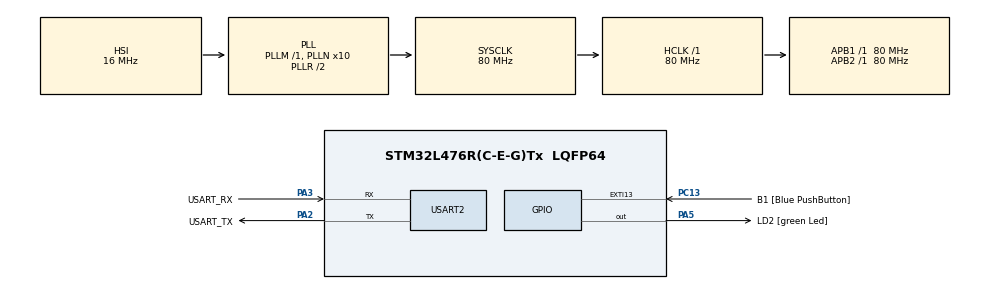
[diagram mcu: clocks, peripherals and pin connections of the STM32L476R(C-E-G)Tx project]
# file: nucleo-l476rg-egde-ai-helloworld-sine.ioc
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Mcu.Family=STM32L4
Mcu.Name=STM32L476R(C-E-G)Tx
Mcu.Package=LQFP64
NVIC.PriorityGroup=NVIC_PRIORITYGROUP_4
NVIC.USART2_IRQn=true\:0\:0\:false\:false\:true\:true\:true\:true
PA13\ (JTMS-SWDIO).GPIO_Label=TMS
PA13\ (JTMS-SWDIO).Mode=Serial_Wire
PA13\ (JTMS-SWDIO).Signal=SYS_JTMS-SWDIO
PA14\ (JTCK-SWCLK).GPIO_Label=TCK
PA14\ (JTCK-SWCLK).Mode=Serial_Wire
PA14\ (JTCK-SWCLK).Signal=SYS_JTCK-SWCLK
PA2.GPIO_Label=USART_TX
PA2.GPIO_Mode=GPIO_MODE_AF_PP
PA2.GPIO_PuPd=GPIO_NOPULL
PA2.GPIO_Speed=GPIO_SPEED_FREQ_VERY_HIGH
PA2.Mode=Asynchronous
PA2.Signal=USART2_TX
PA3.GPIO_Label=USART_RX
PA3.GPIO_Mode=GPIO_MODE_AF_PP
PA3.GPIO_PuPd=GPIO_NOPULL
PA3.GPIO_Speed=GPIO_SPEED_FREQ_VERY_HIGH
PA3.Mode=Asynchronous
PA3.Signal=USART2_RX
PA5.GPIO_Label=LD2 [green Led]
PA5.GPIO_ModeDefaultOutputPP=GPIO_MODE_OUTPUT_PP
PA5.GPIO_PuPd=GPIO_NOPULL
PA5.GPIO_Speed=GPIO_SPEED_FREQ_LOW
PA5.Signal=GPIO_Output
PB3\ (JTDO-TRACESWO).GPIO_Label=SWO
PB3\ (JTDO-TRACESWO).Signal=SYS_JTDO-SWO
PC13.GPIO_Label=B1 [Blue PushButton]
PC13.GPIO_ModeDefaultEXTI=GPIO_MODE_IT_FALLING
PC13.GPIO_PuPd=GPIO_NOPULL
PC13.Signal=GPXTI13
PC14-OSC32_IN\ (PC14).Mode=LSE-External-Oscillator
PC14-OSC32_IN\ (PC14).Signal=RCC_OSC32_IN
PC15-OSC32_OUT\ (PC15).Mode=LSE-External-Oscillator
PC15-OSC32_OUT\ (PC15).Signal=RCC_OSC32_OUT
PH0-OSC_IN\ (PH0).Signal=RCC_OSC_IN
PH1-OSC_OUT\ (PH1).Signal=RCC_OSC_OUT
ProjectManager.HeapSize=0x800
ProjectManager.StackSize=0x800
ProjectManager.TargetToolchain=STM32CubeIDE
RCC.ADCFreq_Value=64000000
RCC.AHBFreq_Value=80000000
RCC.APB1Freq_Value=80000000
RCC.APB1TimFreq_Value=80000000
RCC.APB2Freq_Value=80000000
RCC.APB2TimFreq_Value=80000000
RCC.CortexFreq_Value=80000000
RCC.HCLKFreq_Value=80000000
RCC.HSE_VALUE=8000000
RCC.HSI_VALUE=16000000
RCC.MSI_VALUE=4000000
RCC.PLLN=10
RCC.PLLSourceVirtual=RCC_PLLSOURCE_HSI
RCC.PREFETCH_ENABLE=1
RCC.SYSCLKFreq_VALUE=80000000
RCC.SYSCLKSource=RCC_SYSCLKSOURCE_PLLCLK
RCC.USBFreq_Value=64000000
RCC.VCOOutputFreq_Value=160000000
STMicroelectronics.X-CUBE-AI.10.0.0.ActivationBufferSizeList=2104
STMicroelectronics.X-CUBE-AI.10.0.0.ActivationBuffers=pool0
STMicroelectronics.X-CUBE-AI.10.0.0.ActivationNames=pool0
STMicroelectronics.X-CUBE-AI.10.0.0.ActivationSizes=AI_SINE_MODEL_DATA_ACTIVATION_1_SIZE
STMicroelectronics.X-CUBE-AI.10.0.0.HeapSize=0x800
STMicroelectronics.X-CUBE-AI.10.0.0.InternalRamActivationBufferMaxSize=AI_SINE_MODEL_DATA_ACTIVATIONS_SIZE
STMicroelectronics.X-CUBE-AI.10.0.0.LatestDirectoryUsed-93b78c7e7272fda5c59fb9a12a677476e29289996cf286b4597ba8166318dedd=C\:\\Users\\david\\Documents\\Edging\\Repo\\EdgeAI4BionicControl\\HelloWorld_Models
STMicroelectronics.X-CUBE-AI.10.0.0.MaximumNumberOfInputLayer=1
STMicroelectronics.X-CUBE-AI.10.0.0.MaximumNumberOfOutputLayer=1
STMicroelectronics.X-CUBE-AI.10.0.0.MaximumSizeOfInputLayer=1
STMicroelectronics.X-CUBE-AI.10.0.0.MaximumSizeOfOutputLayer=1
STMicroelectronics.X-CUBE-AI.10.0.0.ModelActualCompression-93b78c7e7272fda5c59fb9a12a677476e29289996cf286b4597ba8166318dedd=0.0
STMicroelectronics.X-CUBE-AI.10.0.0.ModelCompression-93b78c7e7272fda5c59fb9a12a677476e29289996cf286b4597ba8166318dedd=None
STMicroelectronics.X-CUBE-AI.10.0.0.ModelFlashOccupation-93b78c7e7272fda5c59fb9a12a677476e29289996cf286b4597ba8166318dedd=19991
STMicroelectronics.X-CUBE-AI.10.0.0.ModelHashList=93b78c7e7272fda5c59fb9a12a677476e29289996cf286b4597ba8166318dedd
STMicroelectronics.X-CUBE-AI.10.0.0.ModelKind-93b78c7e7272fda5c59fb9a12a677476e29289996cf286b4597ba8166318dedd=TFLITE
STMicroelectronics.X-CUBE-AI.10.0.0.ModelMacc-93b78c7e7272fda5c59fb9a12a677476e29289996cf286b4597ba8166318dedd=325
STMicroelectronics.X-CUBE-AI.10.0.0.ModelName-93b78c7e7272fda5c59fb9a12a677476e29289996cf286b4597ba8166318dedd=sine_model
STMicroelectronics.X-CUBE-AI.10.0.0.ModelNameList=sine_model
STMicroelectronics.X-CUBE-AI.10.0.0.ModelRamOccupation-93b78c7e7272fda5c59fb9a12a677476e29289996cf286b4597ba8166318dedd=2104
STMicroelectronics.X-CUBE-AI.10.0.0.ModelStructureFile-93b78c7e7272fda5c59fb9a12a677476e29289996cf286b4597ba8166318dedd=C\:\\Users\\david\\Documents\\Edging\\Repo\\EdgeAI4BionicControl\\HelloWorld_Models\\sine_model_perfect_int8_justweights.tflite
STMicroelectronics.X-CUBE-AI.10.0.0.ModelType-93b78c7e7272fda5c59fb9a12a677476e29289996cf286b4597ba8166318dedd=STM32Cube.AI MCU runtime
STMicroelectronics.X-CUBE-AI.10.0.0.ReadyForCodeGeneration=true
STMicroelectronics.X-CUBE-AI.10.0.0.StackSize=0x800
STMicroelectronics.X-CUBE-AI.10.0.0.WorkingBufferStartAddrList=0xFFFFFFFF
STMicroelectronics.X-CUBE-AI.10.0.0.XAaCUBEAaAICcArtificialOoIntelligenceJjCore=true
STMicroelectronics.X-CUBE-AI.10.0.0.copyWeightToRam=false
STMicroelectronics.X-CUBE-AI.10.0.0.copyWeightToRam-93b78c7e7272fda5c59fb9a12a677476e29289996cf286b4597ba8166318dedd=false
STMicroelectronics.X-CUBE-AI.10.0.0.customLayerConfigEnabled=false
STMicroelectronics.X-CUBE-AI.10.0.0.customLayerConfigEnabled-93b78c7e7272fda5c59fb9a12a677476e29289996cf286b4597ba8166318dedd=false
STMicroelectronics.X-CUBE-AI.10.0.0.noOnnxIoTranspose=false
STMicroelectronics.X-CUBE-AI.10.0.0.noOnnxIoTranspose-93b78c7e7272fda5c59fb9a12a677476e29289996cf286b4597ba8166318dedd=false
STMicroelectronics.X-CUBE-AI.10.0.0.useInputAllocation=true
STMicroelectronics.X-CUBE-AI.10.0.0.useInputAllocation-93b78c7e7272fda5c59fb9a12a677476e29289996cf286b4597ba8166318dedd=true
STMicroelectronics.X-CUBE-AI.10.0.0.useOutputAllocation=true
STMicroelectronics.X-CUBE-AI.10.0.0.useOutputAllocation-93b78c7e7272fda5c59fb9a12a677476e29289996cf286b4597ba8166318dedd=true
TIM16.Prescaler=80 - 1
USART2.VirtualMode-Asynchronous=VM_ASYNC
VP_CRC_VS_CRC.Mode=CRC_Activate
VP_STMicroelectronics.X-CUBE-AI_VS_ArtificialOoIntelligenceJjXAaCUBEAaAI_10.0.0.Mode=ArtificialOoIntelligenceJjXAaCUBEAaAI
VP_TIM16_VS_ClockSourceINT.Mode=Enable_Timer
board=NUCLEO-L476RG

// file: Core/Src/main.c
/* USER CODE BEGIN Header */
/**
  ******************************************************************************
  * @file           : main.c
  * @brief          : Main program body
  ******************************************************************************
  * @attention
  *
  * Copyright (c) 2025 STMicroelectronics.
  * All rights reserved.
  *
  * This software is licensed under terms that can be found in the LICENSE file
  * in the root directory of this software component.
  * If no LICENSE file comes with this software, it is provided AS-IS.
  *
  ******************************************************************************
  */
/* USER CODE END Header */
#include "main.h"

/* USER CODE BEGIN Includes */
#include <stdio.h>
#include <stdint.h>  // Para evitar advertencias de int8 o uint8

#include "ai_datatypes_defines.h"
#include "ai_platform.h"
#include "sine_model.h"
#include "sine_model_data.h"

/* USER CODE END Includes */

/* USER CODE BEGIN PD */
#define RX_DATA_SIZE 8 // Cantidad de dígitos (+1) de los números de entrada
#define VERBOSE 0   // Con VERBOSE 0 solo quedan mensajes de error y se entregan (IN, OUT)

/* USER CODE END PD */

CRC_HandleTypeDef hcrc;

TIM_HandleTypeDef htim16;

UART_HandleTypeDef huart2;

/* USER CODE BEGIN PV */

uint8_t rx_indx;
uint8_t rx_char;
char rx_data[RX_DATA_SIZE]; // Pensado en números entre 0 y 2*pi con RX_DATA_SIZE-3 decimales. Ej: RX_DATA_SIZE = 8 -> "3.14159\0"

/* USER CODE END PV */

void SystemClock_Config(void);
static void MX_GPIO_Init(void);
static void MX_USART2_UART_Init(void);
static void MX_CRC_Init(void);
static void MX_TIM16_Init(void);

int main(void)
{

  /* USER CODE BEGIN 1 */
    char buf[50];
    int buf_len = 0;
    ai_error ai_err;
    ai_i32 nbatch;
    uint32_t timestamp;
    float y_val;

    // Espacio de memoria para guardar calculos intermedios (usando variables definidas por Cube.IA, no por mi)
    AI_ALIGNED(4) ai_u8 activations[AI_SINE_MODEL_DATA_ACTIVATIONS_SIZE];

    // Buffers para los tensores de entradas y salidas
    AI_ALIGNED(4) ai_float in_data[AI_SINE_MODEL_IN_1_SIZE]; // Esto espera flotante de 32 bits
    AI_ALIGNED(4) ai_float out_data[AI_SINE_MODEL_OUT_1_SIZE];

    ai_handle sine_model = AI_HANDLE_NULL;

    // Para guardar punteros hacia los datos
    ai_buffer ai_input[AI_SINE_MODEL_IN_NUM];
    ai_buffer ai_output[AI_SINE_MODEL_OUT_NUM];

    ai_shape_dimension input_shape_data[4] = {1, 1, 1, 1};
	ai_shape_dimension output_shape_data[4] = {1, 1, 1, 1};

    // Set working memory and get weights/bias from model
	ai_network_params ai_params = {
	    .params = AI_SINE_MODEL_DATA_WEIGHTS(ai_sine_model_data_weights_get()),
	    .activations = AI_SINE_MODEL_DATA_ACTIVATIONS(activations),
	};

    // Pointer wrapper structs to data buffers
    ai_input[0].data = AI_HANDLE_PTR(in_data);
    ai_input[0].shape.size = 4;
    ai_input[0].shape.data = input_shape_data;
    ai_input[0].format = AI_BUFFER_FORMAT_FLOAT;

    ai_output[0].data = AI_HANDLE_PTR(out_data);
	ai_output[0].shape.size = 4;
	ai_output[0].shape.data = output_shape_data;
	ai_output[0].format = AI_BUFFER_FORMAT_FLOAT;

  /* USER CODE END 1 */

  /* MCU Configuration--------------------------------------------------------*/

  /* Reset of all peripherals, Initializes the Flash interface and the Systick. */
  HAL_Init();

  /* Configure the system clock */
  SystemClock_Config();

  /* Initialize all configured peripherals */
  MX_GPIO_Init();
  MX_USART2_UART_Init();
  MX_CRC_Init();
  MX_TIM16_Init();
  /* USER CODE BEGIN 2 */

  // Start timer/counter
  HAL_TIM_Base_Start(&htim16);
  if (VERBOSE){
	  // Saludo
	  buf_len = sprintf(buf, "\r\n\r\nSTM32 X-Cube-AI test\r\n");
	  HAL_UART_Transmit(&huart2, (uint8_t * )buf, buf_len, 100);
  }

  // La red en sí
  ai_err = ai_sine_model_create(&sine_model, AI_SINE_MODEL_DATA_CONFIG);
  if (ai_err.type != AI_ERROR_NONE)
  {
	  buf_len = sprintf(buf, "Error: could not create NN instance\r\n");
	  HAL_UART_Transmit(&huart2, (uint8_t *)buf, buf_len, 100);
	  while(1);
  }

  // Inicializar la NN
  if (!ai_sine_model_init(sine_model, &ai_params))
  {
	  buf_len = sprintf(buf, "Error, could not initialize NN\r\n");
	  HAL_UART_Transmit(&huart2, (uint8_t *)buf, buf_len, 100);
	  while(1);
  }

  /* USER CODE END 2 */

  /* Infinite loop */
  /* USER CODE BEGIN WHILE */

  while (1)
  {
	  // Fill input buffer

	  float user_input = 0.0f;

	  if (VERBOSE){
		  HAL_UART_Transmit(&huart2, (uint8_t *)"\r\nIngresa un número positivo menor a 2 pi tienes 7 caracteres:\r\n", 65, 100);

	  }

	  // Receive bloqueante

	  for(rx_indx = 0; rx_indx < RX_DATA_SIZE-1 ; rx_indx++){
	  	  HAL_UART_Receive(&huart2, &rx_char, 1, HAL_MAX_DELAY); //Recibe 1 caracter

	  	  if(VERBOSE){
		  	  HAL_UART_Transmit(&huart2, &rx_char, 1, 10);
	  	  }

		  if(rx_char == '\r' || rx_char == '\n') break;

		  if ((rx_char >= '0' && rx_char <= '9') || rx_char == '.' || (rx_char == '-' && rx_indx == 0 )){
			  rx_data[rx_indx]=rx_char;
		  }
	  }
  	  rx_data[rx_indx] = '\0';

  	  if (VERBOSE){
		  // Echo Final
		  HAL_UART_Transmit(&huart2, (uint8_t *)"\r\n", 2, 10);
  	  }

	  sscanf(rx_data, "%f", &user_input);
	  if (VERBOSE){
		  if ( user_input < 0 || user_input > 6.28) {
			  HAL_UART_Transmit(&huart2, (uint8_t *)"Los resultados no serán satisfactorios\r\n", 42, 100);
		  }
	  }
	  for (uint32_t i = 0; i < AI_SINE_MODEL_IN_1_SIZE; i++)
	  {
		  in_data[i] = user_input;
	  }

	  // timestamp inicio
	  timestamp = htim16.Instance->CNT;

	  // Realizar inferencia
	  nbatch = ai_sine_model_run(sine_model, &ai_input[0], &ai_output[0]);
	  if (nbatch != 1)
	    {
	  	  buf_len = sprintf(buf, "Error, could not run inference\r\n");
	  	  HAL_UART_Transmit(&huart2, (uint8_t *)buf, buf_len, 100);
	  	  while(1);
	    }
	  long unsigned int tim = htim16.Instance->CNT - timestamp;
	 // Lee la prediccion
	  y_val = out_data[0];
	  if (VERBOSE){
		  buf_len = sprintf(buf, "Input: %.3f -> Output: %.5f | Tiempo: %lu us\r\n", user_input, y_val, tim);
	  } else {
		  buf_len = sprintf(buf, "(%.5f, %.5f)\r\n", user_input, y_val);
	  }
	  HAL_UART_Transmit(&huart2, (uint8_t *)buf, buf_len, 100);

	  //HAL_Delay(500);

    /* USER CODE END WHILE */

  }
}

void SystemClock_Config(void)
{
  RCC_OscInitTypeDef RCC_OscInitStruct = {0};
  RCC_ClkInitTypeDef RCC_ClkInitStruct = {0};

  /** Configure the main internal regulator output voltage
  */
  if (HAL_PWREx_ControlVoltageScaling(PWR_REGULATOR_VOLTAGE_SCALE1) != HAL_OK)
  {
    Error_Handler();
  }

  /** Initializes the RCC Oscillators according to the specified parameters
  * in the RCC_OscInitTypeDef structure.
  */
  RCC_OscInitStruct.OscillatorType = RCC_OSCILLATORTYPE_HSI;
  RCC_OscInitStruct.HSIState = RCC_HSI_ON;
  RCC_OscInitStruct.HSICalibrationValue = RCC_HSICALIBRATION_DEFAULT;
  RCC_OscInitStruct.PLL.PLLState = RCC_PLL_ON;
  RCC_OscInitStruct.PLL.PLLSource = RCC_PLLSOURCE_HSI;
  RCC_OscInitStruct.PLL.PLLM = 1;
  RCC_OscInitStruct.PLL.PLLN = 10;
  RCC_OscInitStruct.PLL.PLLP = RCC_PLLP_DIV7;
  RCC_OscInitStruct.PLL.PLLQ = RCC_PLLQ_DIV2;
  RCC_OscInitStruct.PLL.PLLR = RCC_PLLR_DIV2;
  if (HAL_RCC_OscConfig(&RCC_OscInitStruct) != HAL_OK)
  {
    Error_Handler();
  }

  /** Initializes the CPU, AHB and APB buses clocks
  */
  RCC_ClkInitStruct.ClockType = RCC_CLOCKTYPE_HCLK|RCC_CLOCKTYPE_SYSCLK
                              |RCC_CLOCKTYPE_PCLK1|RCC_CLOCKTYPE_PCLK2;
  RCC_ClkInitStruct.SYSCLKSource = RCC_SYSCLKSOURCE_PLLCLK;
  RCC_ClkInitStruct.AHBCLKDivider = RCC_SYSCLK_DIV1;
  RCC_ClkInitStruct.APB1CLKDivider = RCC_HCLK_DIV1;
  RCC_ClkInitStruct.APB2CLKDivider = RCC_HCLK_DIV1;

  if (HAL_RCC_ClockConfig(&RCC_ClkInitStruct, FLASH_LATENCY_4) != HAL_OK)
  {
    Error_Handler();
  }
}

static void MX_CRC_Init(void)
{

  hcrc.Instance = CRC;
  hcrc.Init.DefaultPolynomialUse = DEFAULT_POLYNOMIAL_ENABLE;
  hcrc.Init.DefaultInitValueUse = DEFAULT_INIT_VALUE_ENABLE;
  hcrc.Init.InputDataInversionMode = CRC_INPUTDATA_INVERSION_NONE;
  hcrc.Init.OutputDataInversionMode = CRC_OUTPUTDATA_INVERSION_DISABLE;
  hcrc.InputDataFormat = CRC_INPUTDATA_FORMAT_BYTES;
  if (HAL_CRC_Init(&hcrc) != HAL_OK)
  {
    Error_Handler();
  }

}

static void MX_TIM16_Init(void)
{

  htim16.Instance = TIM16;
  htim16.Init.Prescaler = 80 - 1;
  htim16.Init.CounterMode = TIM_COUNTERMODE_UP;
  htim16.Init.Period = 65535;
  htim16.Init.ClockDivision = TIM_CLOCKDIVISION_DIV1;
  htim16.Init.RepetitionCounter = 0;
  htim16.Init.AutoReloadPreload = TIM_AUTORELOAD_PRELOAD_DISABLE;
  if (HAL_TIM_Base_Init(&htim16) != HAL_OK)
  {
    Error_Handler();
  }

}

static void MX_USART2_UART_Init(void)
{

  huart2.Instance = USART2;
  huart2.Init.BaudRate = 115200;
  huart2.Init.WordLength = UART_WORDLENGTH_8B;
  huart2.Init.StopBits = UART_STOPBITS_1;
  huart2.Init.Parity = UART_PARITY_NONE;
  huart2.Init.Mode = UART_MODE_TX_RX;
  huart2.Init.HwFlowCtl = UART_HWCONTROL_NONE;
  huart2.Init.OverSampling = UART_OVERSAMPLING_16;
  huart2.Init.OneBitSampling = UART_ONE_BIT_SAMPLE_DISABLE;
  huart2.AdvancedInit.AdvFeatureInit = UART_ADVFEATURE_NO_INIT;
  if (HAL_UART_Init(&huart2) != HAL_OK)
  {
    Error_Handler();
  }

}

static void MX_GPIO_Init(void)
{
  GPIO_InitTypeDef GPIO_InitStruct = {0};

  /* GPIO Ports Clock Enable */
  __HAL_RCC_GPIOC_CLK_ENABLE();
  __HAL_RCC_GPIOH_CLK_ENABLE();
  __HAL_RCC_GPIOA_CLK_ENABLE();
  __HAL_RCC_GPIOB_CLK_ENABLE();

  /*Configure GPIO pin Output Level */
  HAL_GPIO_WritePin(LD2_GPIO_Port, LD2_Pin, GPIO_PIN_RESET);

  /*Configure GPIO pin : B1_Pin */
  GPIO_InitStruct.Pin = B1_Pin;
  GPIO_InitStruct.Mode = GPIO_MODE_IT_FALLING;
  GPIO_InitStruct.Pull = GPIO_NOPULL;
  HAL_GPIO_Init(B1_GPIO_Port, &GPIO_InitStruct);

  /*Configure GPIO pin : LD2_Pin */
  GPIO_InitStruct.Pin = LD2_Pin;
  GPIO_InitStruct.Mode = GPIO_MODE_OUTPUT_PP;
  GPIO_InitStruct.Pull = GPIO_NOPULL;
  GPIO_InitStruct.Speed = GPIO_SPEED_FREQ_LOW;
  HAL_GPIO_Init(LD2_GPIO_Port, &GPIO_InitStruct);

}

/* USER CODE BEGIN 4 */

// Redireccion de printf para evitar errores en Build

int __io_putchar(int ch)
{
    HAL_UART_Transmit(&huart2, (uint8_t *)&ch, 1, HAL_MAX_DELAY);
    return ch;
}

int _write(int file, char *ptr, int len)
{
    HAL_UART_Transmit(&huart2, (uint8_t *)ptr, len, HAL_MAX_DELAY);
    return len;
}

// Stubs para que el linker deje de llorar
int _close(int file) { return -1; }
int _fstat(int file, void *st) { return 0; }
int _isatty(int file) { return 1; }
int _lseek(int file, int ptr, int dir) { return 0; }
int _read(int file, char *ptr, int len) { return 0; }
int _kill(int pid, int sig) { return -1; }
int _getpid(void) { return 1; }

//void HAL_UART_RxCpltCallback(UART_HandleTypeDef *huart)
//{
//  /* Prevent unused argument(s) compilation warning */
//  UNUSED(huart);
//
//  /* NOTE : This function should not be modified, when the callback is needed,
//            the HAL_UART_RxCpltCallback can be implemented in the user file.
//   */
//  HAL_UART_Transmit(&huart2, rx_data, 1, 10);
//
//  HAL_UART_Receive_IT(&huart2, rx_data, 1);
//
//}

/* USER CODE END 4 */

void Error_Handler(void)
{
  __disable_irq();
  while (1)
  {
  }
}
